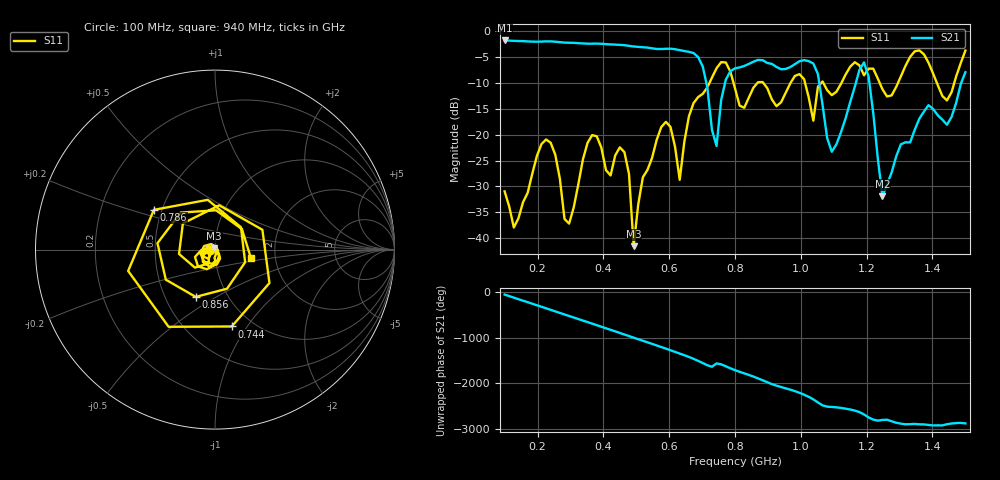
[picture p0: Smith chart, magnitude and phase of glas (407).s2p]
! NanoVNA-App
! Date: 2025-09-25 15:58:38
! Start: 100MHz Stop: 1,5GHz Points: 101
! S-Parameter data: F S11 S21 S12 S22
# Hz S RI R 50
!  Frequency  S11_Real  S11_Imag  S21_Real  S21_Imag  S12_Real  S12_Imag  S22_Real  S22_Imag
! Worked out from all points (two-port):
!   101 points, 100 MHz to 1.5 GHz, reference 50 ohm
!   highest |S21| = -1.80 dB at 100 MHz (marker M1); lowest = -31.9 dB at 1.248 GHz (marker M2)
!   |S21| within 3 dB of the highest: start of sweep to 684.2 MHz
!   lowest |S11| = -41.5 dB at 492 MHz (marker M3), VSWR 1.02, Z = 49.5 + j0.64 ohm
!   |S11| at or under -10 dB: start of sweep to 722.4 MHz; 795.4 MHz to 868.2 MHz (72.73 MHz wide, 8.74 % of centre); 886 MHz to 968.8 MHz (82.82 MHz wide, 8.93 % of centre) (the widest 3 of 7)
!   S12 and S22 are empty: the file has one direction only
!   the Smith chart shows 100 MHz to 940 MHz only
!   S11 on the Smith chart (normalised r, x): 100 MHz: 0.95, -0.01; 744 MHz: 0.80, -0.85; 786 MHz: 0.45, +0.24; 856 MHz: 0.71, -0.41; 940 MHz: 1.49, -0.15
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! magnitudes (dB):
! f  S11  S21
! 100 MHz  -30.9  -1.8
! 128 MHz  -37.9  -1.9
! 226 MHz  -20.9  -2.0
! 296 MHz  -37.2  -2.2
! 338 MHz  -24.8  -2.4
! 464 MHz  -23.4  -2.7
! 492 MHz  -41.5  -3.0
! 576 MHz  -18.5  -3.5
! 632 MHz  -28.7  -3.7
! 702 MHz  -12.1  -6.8
! 744 MHz  -7.2  -22.2
! 786 MHz  -7.8  -7.7
! 800 MHz  -11.0  -7.2
! 856 MHz  -10.9  -5.9
! 940 MHz  -13.7  -7.4
! 996 MHz  -8.3  -5.8
! 1.038 GHz  -17.3  -6.3
! 1.094 GHz  -12.4  -23.3
! 1.192 GHz  -8.5  -6.0
! 1.248 GHz  -11.2  -31.9
! 1.276 GHz  -12.4  -27.3
! 1.5 GHz  -3.8  -7.9
